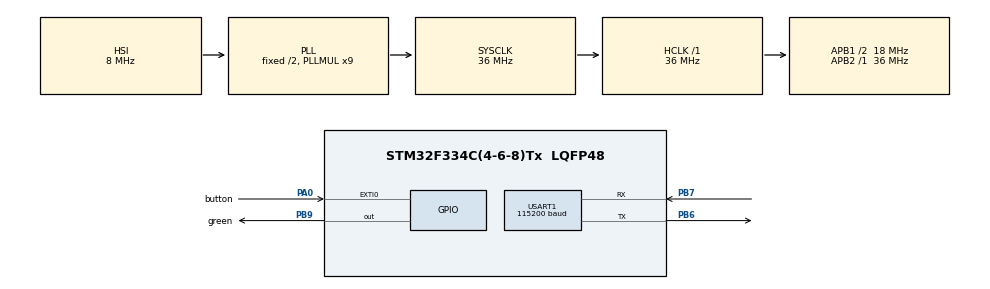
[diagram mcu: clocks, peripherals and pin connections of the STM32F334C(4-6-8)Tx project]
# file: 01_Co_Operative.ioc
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FREERTOS.Tasks01=defaultTask,0,128,StartDefaultTask,Default,NULL,Dynamic,NULL,NULL
FREERTOS.configUSE_NEWLIB_REENTRANT=1
FREERTOS.configUSE_PREEMPTION=0
Mcu.Family=STM32F3
Mcu.Name=STM32F334C(4-6-8)Tx
Mcu.Package=LQFP48
NVIC.EXTI0_IRQn=true\:5\:0\:false\:false\:true\:true\:true\:true\:true
NVIC.PriorityGroup=NVIC_PRIORITYGROUP_4
NVIC.TIM6_DAC1_IRQn=true\:0\:0\:false\:false\:true\:false\:false\:true\:true
NVIC.TimeBase=TIM6_DAC1_IRQn
NVIC.TimeBaseIP=TIM6
PA0.GPIO_Label=button
PA0.Signal=GPXTI0
PB6.Mode=Asynchronous
PB6.Signal=USART1_TX
PB7.Mode=Asynchronous
PB7.Signal=USART1_RX
PB9.GPIO_Label=green
PB9.Signal=GPIO_Output
ProjectManager.HeapSize=0x200
ProjectManager.StackSize=0x400
ProjectManager.TargetToolchain=STM32CubeIDE
RCC.AHBFreq_Value=36000000
RCC.APB1CLKDivider=RCC_HCLK_DIV2
RCC.APB1Freq_Value=18000000
RCC.APB1TimFreq_Value=36000000
RCC.APB2Freq_Value=36000000
RCC.APB2TimFreq_Value=36000000
RCC.CortexFreq_Value=36000000
RCC.HCLKFreq_Value=36000000
RCC.HSE_VALUE=8000000
RCC.HSI_VALUE=8000000
RCC.LSE_VALUE=32768
RCC.PLLMUL=RCC_PLL_MUL9
RCC.SYSCLKFreq_VALUE=36000000
RCC.SYSCLKSourceVirtual=RCC_SYSCLKSOURCE_PLLCLK
USART1.BaudRate=115200
USART1.VirtualMode-Asynchronous=VM_ASYNC
VP_FREERTOS_VS_CMSIS_V1.Mode=CMSIS_V1
VP_SYS_VS_tim6.Mode=TIM6
board=STM32F3348-DISCO

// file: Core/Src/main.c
/* USER CODE BEGIN Header */
/**
  ******************************************************************************
  * @file           : main.c
  * @brief          : Main program body
  ******************************************************************************
  * @attention
  *
  * Copyright (c) 2023 STMicroelectronics.
  * All rights reserved.
  *
  * This software is licensed under terms that can be found in the LICENSE file
  * in the root directory of this software component.
  * If no LICENSE file comes with this software, it is provided AS-IS.
  *
  ******************************************************************************
  */
/* USER CODE END Header */
#include "main.h"
//#include "cmsis_os.h"

/* USER CODE BEGIN Includes */
#include "FreeRTOS.h"
#include "task.h"
#include "timers.h"
#include "queue.h"
#include "semphr.h"
#include "event_groups.h"
#include <string.h>
#include <stdlib.h>
#include <stdio.h>
/* USER CODE END Includes */

UART_HandleTypeDef huart1;

//osThreadId defaultTaskHandle;
/* USER CODE BEGIN PV */
uint8_t task_yield = 0;
/* USER CODE END PV */

void SystemClock_Config(void);
static void MX_GPIO_Init(void);
static void MX_USART1_UART_Init(void);
//void StartDefaultTask(void const * argument);

/* USER CODE BEGIN PFP */
void Task1_Handler(void *param);
void Task2_Handler(void *param);
void Task3_Handler(void *param);
void Task4_Handler(void *param);
void Task5_Handler(void *param);
void Task6_Handler(void *param);
void Task7_Handler(void *param);
/* USER CODE END PFP */

int main(void)
{

  /* MCU Configuration--------------------------------------------------------*/

  /* Reset of all peripherals, Initializes the Flash interface and the Systick. */
  HAL_Init();

  /* Configure the system clock */
  SystemClock_Config();

  /* Initialize all configured peripherals */
  MX_GPIO_Init();
  MX_USART1_UART_Init();

  /* Create the thread(s) */
  /* definition and creation of defaultTask */
//  osThreadDef(defaultTask, StartDefaultTask, osPriorityNormal, 0, 128);
//  defaultTaskHandle = osThreadCreate(osThread(defaultTask), NULL);

  /* USER CODE BEGIN RTOS_THREADS */
  xTaskCreate(Task1_Handler,"Task-1",128,NULL,7,NULL);
  xTaskCreate(Task2_Handler,"Task-2",128,NULL,7,NULL);
  xTaskCreate(Task3_Handler,"Task-3",128,NULL,7,NULL);
  xTaskCreate(Task4_Handler,"Task-4",128,NULL,7,NULL);
  xTaskCreate(Task5_Handler,"Task-5",128,NULL,7,NULL);
  xTaskCreate(Task6_Handler,"Task-6",128,NULL,7,NULL);
  xTaskCreate(Task7_Handler,"Task-7",128,NULL,7,NULL);
  vTaskStartScheduler();
  /* USER CODE END RTOS_THREADS */

  /* Start scheduler */
//  osKernelStart();

  /* We should never get here as control is now taken by the scheduler */
  /* Infinite loop */
  while (1)
  {

  }
}

void SystemClock_Config(void)
{
  RCC_OscInitTypeDef RCC_OscInitStruct = {0};
  RCC_ClkInitTypeDef RCC_ClkInitStruct = {0};
  RCC_PeriphCLKInitTypeDef PeriphClkInit = {0};

  /** Initializes the RCC Oscillators according to the specified parameters
  * in the RCC_OscInitTypeDef structure.
  */
  RCC_OscInitStruct.OscillatorType = RCC_OSCILLATORTYPE_HSI;
  RCC_OscInitStruct.HSIState = RCC_HSI_ON;
  RCC_OscInitStruct.HSICalibrationValue = RCC_HSICALIBRATION_DEFAULT;
  RCC_OscInitStruct.PLL.PLLState = RCC_PLL_ON;
  RCC_OscInitStruct.PLL.PLLSource = RCC_PLLSOURCE_HSI;
  RCC_OscInitStruct.PLL.PLLMUL = RCC_PLL_MUL9;
  if (HAL_RCC_OscConfig(&RCC_OscInitStruct) != HAL_OK)
  {
    Error_Handler();
  }

  /** Initializes the CPU, AHB and APB buses clocks
  */
  RCC_ClkInitStruct.ClockType = RCC_CLOCKTYPE_HCLK|RCC_CLOCKTYPE_SYSCLK
                              |RCC_CLOCKTYPE_PCLK1|RCC_CLOCKTYPE_PCLK2;
  RCC_ClkInitStruct.SYSCLKSource = RCC_SYSCLKSOURCE_PLLCLK;
  RCC_ClkInitStruct.AHBCLKDivider = RCC_SYSCLK_DIV1;
  RCC_ClkInitStruct.APB1CLKDivider = RCC_HCLK_DIV2;
  RCC_ClkInitStruct.APB2CLKDivider = RCC_HCLK_DIV1;

  if (HAL_RCC_ClockConfig(&RCC_ClkInitStruct, FLASH_LATENCY_1) != HAL_OK)
  {
    Error_Handler();
  }
  PeriphClkInit.PeriphClockSelection = RCC_PERIPHCLK_USART1;
  PeriphClkInit.Usart1ClockSelection = RCC_USART1CLKSOURCE_PCLK1;
  if (HAL_RCCEx_PeriphCLKConfig(&PeriphClkInit) != HAL_OK)
  {
    Error_Handler();
  }
}

static void MX_USART1_UART_Init(void)
{

  huart1.Instance = USART1;
  huart1.Init.BaudRate = 115200;
  huart1.Init.WordLength = UART_WORDLENGTH_8B;
  huart1.Init.StopBits = UART_STOPBITS_1;
  huart1.Init.Parity = UART_PARITY_NONE;
  huart1.Init.Mode = UART_MODE_TX_RX;
  huart1.Init.HwFlowCtl = UART_HWCONTROL_NONE;
  huart1.Init.OverSampling = UART_OVERSAMPLING_16;
  huart1.Init.OneBitSampling = UART_ONE_BIT_SAMPLE_DISABLE;
  huart1.AdvancedInit.AdvFeatureInit = UART_ADVFEATURE_NO_INIT;
  if (HAL_UART_Init(&huart1) != HAL_OK)
  {
    Error_Handler();
  }

}

static void MX_GPIO_Init(void)
{
  GPIO_InitTypeDef GPIO_InitStruct = {0};

  /* GPIO Ports Clock Enable */
  __HAL_RCC_GPIOA_CLK_ENABLE();
  __HAL_RCC_GPIOB_CLK_ENABLE();

  /*Configure GPIO pin Output Level */
  HAL_GPIO_WritePin(green_GPIO_Port, green_Pin, GPIO_PIN_RESET);

  /*Configure GPIO pin : button_Pin */
  GPIO_InitStruct.Pin = button_Pin;
  GPIO_InitStruct.Mode = GPIO_MODE_IT_RISING;
  GPIO_InitStruct.Pull = GPIO_NOPULL;
  HAL_GPIO_Init(button_GPIO_Port, &GPIO_InitStruct);

  /*Configure GPIO pin : green_Pin */
  GPIO_InitStruct.Pin = green_Pin;
  GPIO_InitStruct.Mode = GPIO_MODE_OUTPUT_PP;
  GPIO_InitStruct.Pull = GPIO_NOPULL;
  GPIO_InitStruct.Speed = GPIO_SPEED_FREQ_LOW;
  HAL_GPIO_Init(green_GPIO_Port, &GPIO_InitStruct);

  /* EXTI interrupt init*/
  HAL_NVIC_SetPriority(EXTI0_IRQn, 5, 0);
  HAL_NVIC_EnableIRQ(EXTI0_IRQn);

}

/* USER CODE BEGIN 4 */
void Task1_Handler(void *param)
{
	while(1)
	{
		HAL_UART_Transmit(&huart1, (uint8_t*)"Task1 in execution\r\n", sizeof("Task1 in execution\r\n")-1, HAL_MAX_DELAY);
		if(task_yield)
				{
					task_yield = 0;
					taskYIELD();
				}
	}
}
void Task2_Handler(void *param)
{
	while(1)
	{
		HAL_UART_Transmit(&huart1, (uint8_t*)"Task2 in execution\r\n", sizeof("Task2 in execution\r\n")-1, HAL_MAX_DELAY);
		if(task_yield)
				{
					task_yield = 0;
					taskYIELD();
				}
	}
}
void Task3_Handler(void *param)
{
	while(1)
	{
		HAL_UART_Transmit(&huart1, (uint8_t*)"Task3 in execution\r\n", sizeof("Task3 in execution\r\n")-1, HAL_MAX_DELAY);
		if(task_yield)
				{
					task_yield = 0;
					taskYIELD();
				}
	}
}
void Task4_Handler(void *param)
{
	while(1)
	{
		HAL_UART_Transmit(&huart1, (uint8_t*)"Task4 in execution\r\n", sizeof("Task4 in execution\r\n")-1, HAL_MAX_DELAY);
		if(task_yield)
				{
					task_yield = 0;
					taskYIELD();
				}
	}
}
void Task5_Handler(void *param)
{
	while(1)
	{
		HAL_UART_Transmit(&huart1, (uint8_t*)"Task5 in execution\r\n", sizeof("Task5 in execution\r\n")-1, HAL_MAX_DELAY);
		if(task_yield)
				{
					task_yield = 0;
					taskYIELD();
				}
	}
}
void Task6_Handler(void *param)
{
	while(1)
	{
		HAL_UART_Transmit(&huart1, (uint8_t*)"Task6 in execution\r\n", sizeof("Task6 in execution\r\n")-1, HAL_MAX_DELAY);
		if(task_yield)
				{
					task_yield = 0;
					taskYIELD();
				}
	}
}
void Task7_Handler(void *param)
{
	while(1)
	{
		HAL_UART_Transmit(&huart1, (uint8_t*)"Task7 in execution\r\n", sizeof("Task7 in execution\r\n")-1, HAL_MAX_DELAY);
		if(task_yield)
		{
			task_yield = 0;
			taskYIELD();
		}
	}
}
/* USER CODE BEGIN 4 */
void HAL_GPIO_EXTI_Callback(uint16_t GPIO_Pin)
{
  if(GPIO_Pin == button_Pin) {
	  HAL_GPIO_TogglePin(green_GPIO_Port, green_Pin);
	  HAL_UART_Transmit(&huart1, (uint8_t*)"Task_Yeild\r\n", sizeof("Task_Yeild\r\n")-1, HAL_MAX_DELAY);
	  task_yield = 1;
  }
}
/* USER CODE END 4 */

//void StartDefaultTask(void const * argument)
//{
  /* USER CODE BEGIN 5 */
//  /* Infinite loop */
//  for(;;)
//  {
//    osDelay(1);
//  }
  /* USER CODE END 5 */
//}

void HAL_TIM_PeriodElapsedCallback(TIM_HandleTypeDef *htim)
{
  if (htim->Instance == TIM6) {
    HAL_IncTick();
  }
}

void Error_Handler(void)
{
  __disable_irq();
  while (1)
  {
  }
}
